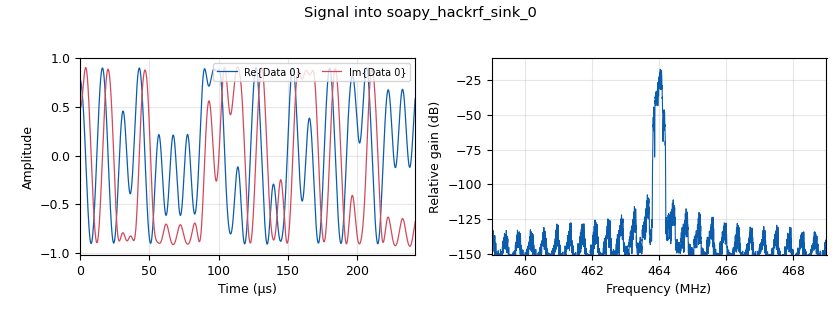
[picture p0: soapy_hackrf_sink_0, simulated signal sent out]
options:
  parameters:
    generate_options: qt_gui
    id: end2end
    output_language: python
    title: Not titled yet
  states: {}

blocks:
- name: header
  id: variable
  parameters:
    value: b'\x01\x90\x01\x90'
  states: {}
- name: payload
  id: variable
  parameters:
    value: b'\xDE\xAD\xBE\xEF'*100
  states: {}
- name: ppm
  id: variable_qtgui_range
  parameters:
    start: '-100'
    step: '1'
    stop: '100'
    value: '11'
  states: {}
- name: preamble
  id: variable
  parameters:
    value: b'\x55' * 100
  states: {}
- name: rx_gain
  id: variable_qtgui_range
  parameters:
    start: '0'
    step: '0.1'
    stop: '100'
    value: '1.4'
  states: {}
- name: samp_rate
  id: variable
  parameters:
    value: 386e3
  states: {}
- name: sps
  id: variable
  parameters:
    value: '2'
  states: {}
- name: squel
  id: variable_qtgui_range
  parameters:
    start: '-100'
    step: '1'
    stop: '100'
    value: '-5'
  states: {}
- name: sync_word
  id: variable
  parameters:
    value: b'\x2D\xD4'
  states: {}
- name: tx_gain
  id: variable_qtgui_range
  parameters:
    start: '0'
    step: '0.01'
    stop: '1'
    value: '0.9'
  states: {}
- name: analog_simple_squelch_cc_0
  id: analog_simple_squelch_cc
  parameters:
    alpha: '1'
    threshold: squel
  states: {}
- name: blocks_file_sink_0
  id: blocks_file_sink
  parameters:
    file: recieved_data.bin
    type: byte
    unbuffered: 'True'
  states: {}
- name: blocks_multiply_const_vxx_0
  id: blocks_multiply_const_vxx
  parameters:
    const: rx_gain
    type: complex
  states: {}
- name: blocks_multiply_const_vxx_0_0
  id: blocks_multiply_const_vxx
  parameters:
    const: tx_gain
    type: complex
  states: {}
- name: blocks_pack_k_bits_bb_0
  id: blocks_pack_k_bits_bb
  parameters:
    k: '8'
  states: {}
- name: blocks_throttle2_0
  id: blocks_throttle2
  parameters:
    samples_per_second: samp_rate
    type: byte
  states: {}
- name: blocks_vector_source_x_0
  id: blocks_vector_source_x
  parameters:
    repeat: 'True'
    type: byte
    vector: list(preamble + sync_word + header + payload)
  states: {}
- name: digital_correlate_access_code_xx_ts_0
  id: digital_correlate_access_code_xx_ts
  parameters:
    access_code: '0010110111010100'
    threshold: '0'
    type: byte
  states: {}
- name: digital_gfsk_demod_0
  id: digital_gfsk_demod
  parameters:
    freq_error: '0.0'
    gain_mu: '0.175'
    mu: '0.5'
    omega_relative_limit: '0.005'
    samples_per_symbol: sps
    sensitivity: '1.0'
  states: {}
- name: digital_gfsk_mod_0
  id: digital_gfsk_mod
  parameters:
    bt: '0.35'
    samples_per_symbol: sps
    sensitivity: '1.0'
  states: {}
- name: qtgui_const_sink_x_0
  id: qtgui_const_sink_x
  parameters:
    nconnections: '2'
    size: '1024'
    type: complex
  states: {}
- name: rational_resampler_xxx_0
  id: rational_resampler_xxx
  parameters:
    decim: int(samp_rate)
    interp: int(10e6)
    type: ccc
  states: {}
- name: rational_resampler_xxx_0_0
  id: rational_resampler_xxx
  parameters:
    decim: int(1.8e6)
    interp: int(samp_rate)
    type: ccc
  states: {}
- name: soapy_hackrf_sink_0
  id: soapy_hackrf_sink
  parameters:
    center_freq: 464e6
    samp_rate: 10e6
    type: fc32
  states: {}
- name: soapy_rtlsdr_source_0
  id: soapy_rtlsdr_source
  parameters:
    center_freq: 464e6
    freq_correction: ppm
    samp_rate: 1.8e6
    type: fc32
  states: {}

connections:
- [analog_simple_squelch_cc_0, '0', digital_gfsk_demod_0, '0']
- [analog_simple_squelch_cc_0, '0', qtgui_const_sink_x_0, '1']
- [blocks_multiply_const_vxx_0, '0', analog_simple_squelch_cc_0, '0']
- [blocks_multiply_const_vxx_0_0, '0', qtgui_const_sink_x_0, '0']
- [blocks_multiply_const_vxx_0_0, '0', rational_resampler_xxx_0, '0']
- [blocks_pack_k_bits_bb_0, '0', blocks_file_sink_0, '0']
- [blocks_throttle2_0, '0', digital_gfsk_mod_0, '0']
- [blocks_vector_source_x_0, '0', blocks_throttle2_0, '0']
- [digital_correlate_access_code_xx_ts_0, '0', blocks_pack_k_bits_bb_0, '0']
- [digital_gfsk_demod_0, '0', digital_correlate_access_code_xx_ts_0, '0']
- [digital_gfsk_mod_0, '0', blocks_multiply_const_vxx_0_0, '0']
- [rational_resampler_xxx_0, '0', soapy_hackrf_sink_0, '0']
- [rational_resampler_xxx_0_0, '0', blocks_multiply_const_vxx_0, '0']
- [soapy_rtlsdr_source_0, '0', rational_resampler_xxx_0_0, '0']

metadata:
  file_format: 1
  grc_version: 3.10.9.2
